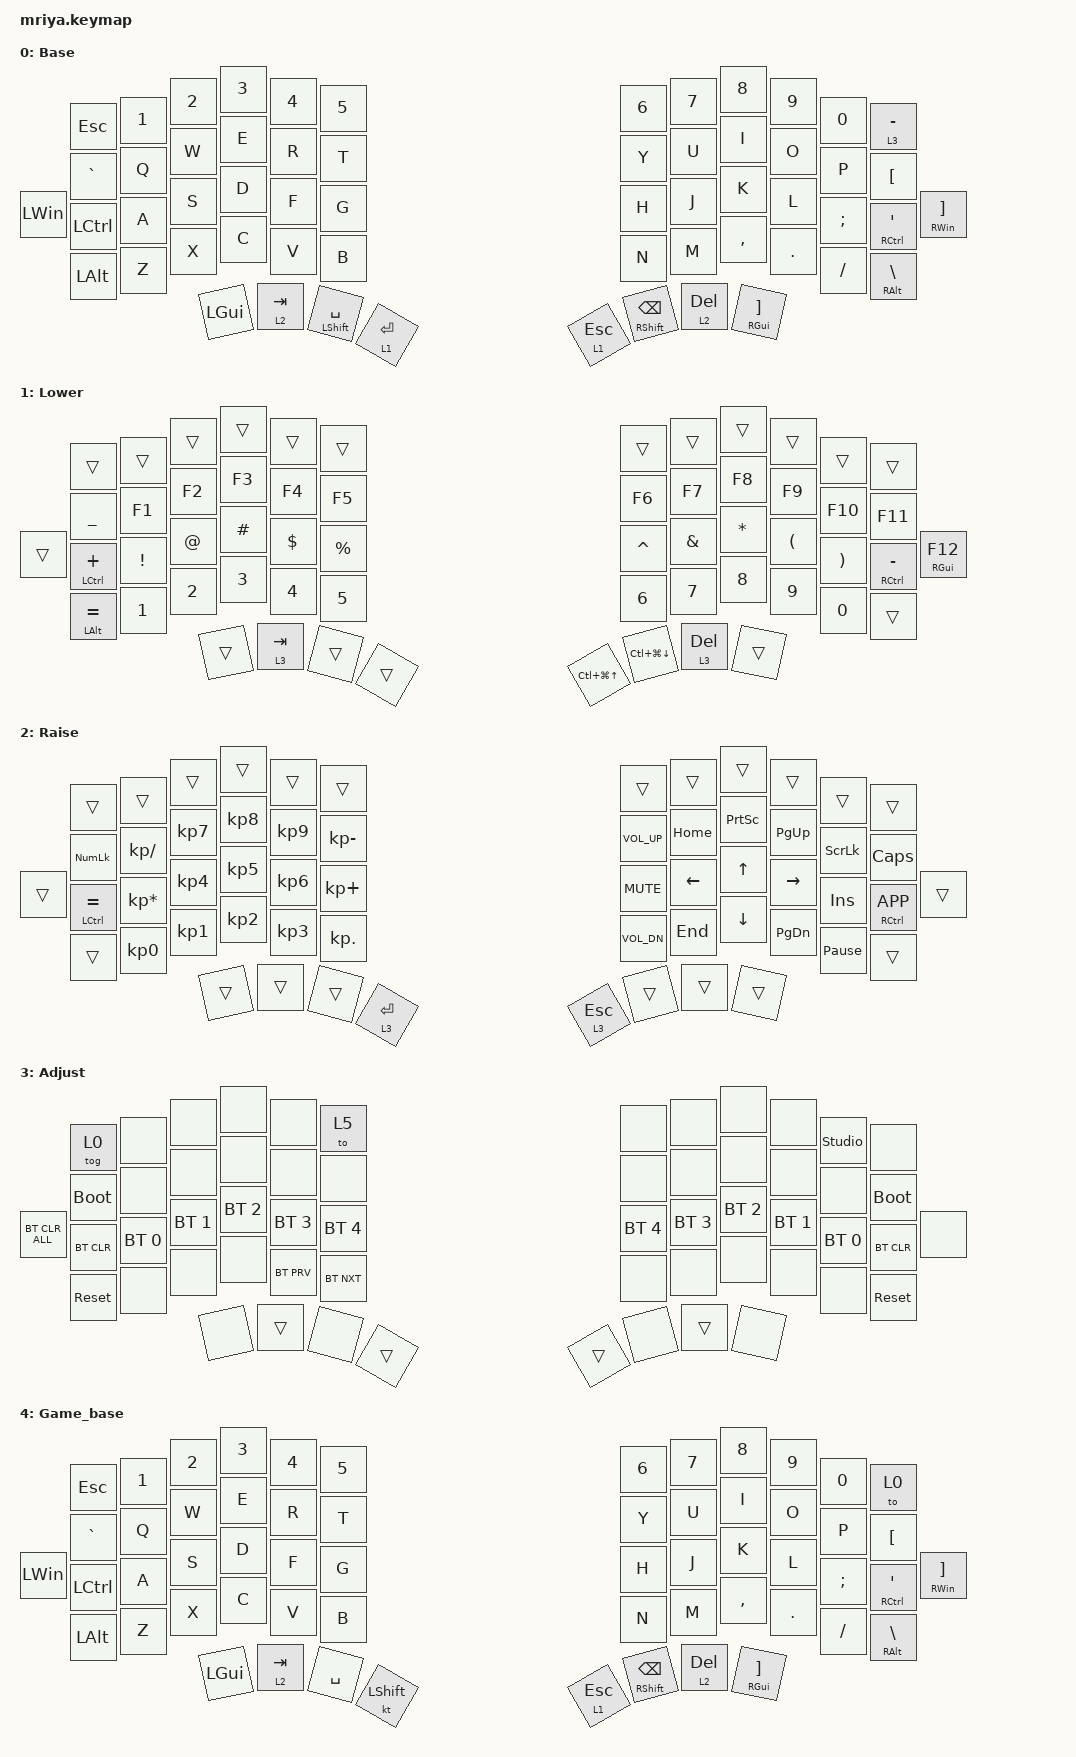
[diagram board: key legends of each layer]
/*
 * Copyright (c) 2023 Andrei Gaevskii
 *
 * SPDX-License-Identifier: MIT
 */
/* Включаем все поведения для ZMK Studio */

#define ZMK_BEHAVIORS_KEEP_ALL 1

#include <behaviors.dtsi>
#include <dt-bindings/zmk/bt.h>
#include <dt-bindings/zmk/keys.h>

#define DEF 0
#define LWR 1
#define RSE 2
#define ADJ 3

&lt { quick_tap_ms = <200>; };

&mt { quick_tap_ms = <200>; };

&tog { toggle-mode = "flip"; };

/ {
    behaviors {
        tap_dance: tap_dance {
            compatible = "zmk,behavior-tap-dance";
            label = "TAP_DANCE";
            #binding-cells = <0>;
            bindings = <&kp LEFT_SHIFT>, <&kt LEFT_SHIFT>;
        };
    };

    keymap {
        compatible = "zmk,keymap";

        default_layer {
            display-name = "Base";
            bindings = <
          &kp ESC    &kp N1  &kp N2    &kp N3     &kp N4           &kp N5       &kp N6     &kp N7          &kp N8     &kp N9                  &kp N0    &lt 3 MINUS
&kp LWIN  &kp GRAVE  &kp Q   &kp W     &kp E      &kp R            &kp T        &kp Y      &kp U           &kp I      &kp O                   &kp P     &kp LBKT       &mt RWIN RBKT
          &kp LCTRL  &kp A   &kp S     &kp D      &kp F            &kp G        &kp H      &kp J           &kp K      &kp L                   &kp SEMI  &mt RCTRL SQT
          &kp LALT   &kp Z   &kp X     &kp C      &kp V            &kp B        &kp N      &kp M           &kp COMMA  &kp DOT                 &kp FSLH  &mt RALT BSLH
                             &kp LGUI  &lt 2 TAB  &mt LSHFT SPACE  &lt 1 RET    &lt 1 ESC  &mt RSHFT BSPC  &lt 2 DEL  &mt RGUI RIGHT_BRACKET
            >;
        };

        lower_layer {
            display-name = "Lower";
            bindings = <
        &trans          &trans    &trans  &trans     &trans    &trans       &trans          &trans            &trans     &trans    &trans    &trans
&trans  &kp UNDER       &kp F1    &kp F2  &kp F3     &kp F4    &kp F5       &kp F6          &kp F7            &kp F8     &kp F9    &kp F10   &kp F11          &mt RGUI F12
        &mt LCTRL PLUS  &kp EXCL  &kp AT  &kp HASH   &kp DLLR  &kp PRCNT    &kp CARET       &kp AMPS          &kp STAR   &kp LPAR  &kp RPAR  &mt RCTRL MINUS
        &mt LALT EQUAL  &kp N1    &kp N2  &kp N3     &kp N4    &kp N5       &kp N6          &kp N7            &kp N8     &kp N9    &kp N0    &trans
                                  &trans  &lt 3 TAB  &trans    &trans       &kp LC(LG(UP))  &kp LC(LG(DOWN))  &lt 3 DEL  &trans
            >;
        };

        raise_layer {
            display-name = "Raise";
            bindings = <
        &trans           &trans           &trans     &trans     &trans     &trans          &trans        &trans    &trans     &trans     &trans           &trans
&trans  &kp KP_NUM       &kp KP_SLASH     &kp KP_N7  &kp KP_N8  &kp KP_N9  &kp KP_MINUS    &kp C_VOL_UP  &kp HOME  &kp PSCRN  &kp PG_UP  &kp SLCK         &kp CAPS         &trans
        &mt LCTRL EQUAL  &kp KP_MULTIPLY  &kp KP_N4  &kp KP_N5  &kp KP_N6  &kp KP_PLUS     &kp C_MUTE    &kp LEFT  &kp UP     &kp RIGHT  &kp INS          &mt RCTRL K_APP
        &trans           &kp KP_N0        &kp KP_N1  &kp KP_N2  &kp KP_N3  &kp KP_DOT      &kp C_VOL_DN  &kp END   &kp DOWN   &kp PG_DN  &kp PAUSE_BREAK  &trans
                                          &trans     &trans     &trans     &lt 3 RET       &lt 3 ESC     &trans    &trans     &trans
            >;
        };

        adjust_layer {
            display-name = "Adjust";
            bindings = <
                &tog 0       &none         &none         &none         &none         &to 5           &none         &none         &none         &none         &studio_unlock  &none
&bt BT_CLR_ALL  &bootloader  &none         &none         &none         &none         &none           &none         &none         &none         &none         &none           &bootloader  &none
                &bt BT_CLR   &bt BT_SEL 0  &bt BT_SEL 1  &bt BT_SEL 2  &bt BT_SEL 3  &bt BT_SEL 4    &bt BT_SEL 4  &bt BT_SEL 3  &bt BT_SEL 2  &bt BT_SEL 1  &bt BT_SEL 0    &bt BT_CLR
                &sys_reset   &none         &none         &none         &bt BT_PRV    &bt BT_NXT      &none         &none         &none         &none         &none           &sys_reset
                                           &none         &trans        &none         &trans          &trans        &none         &trans        &none
            >;
        };

        Game {
            display-name = "Game_base";
            bindings = <
          &kp ESC    &kp N1  &kp N2    &kp N3     &kp N4     &kp N5            &kp N6     &kp N7          &kp N8     &kp N9                  &kp N0    &to 0
&kp LWIN  &kp GRAVE  &kp Q   &kp W     &kp E      &kp R      &kp T             &kp Y      &kp U           &kp I      &kp O                   &kp P     &kp LBKT       &mt RWIN RBKT
          &kp LCTRL  &kp A   &kp S     &kp D      &kp F      &kp G             &kp H      &kp J           &kp K      &kp L                   &kp SEMI  &mt RCTRL SQT
          &kp LALT   &kp Z   &kp X     &kp C      &kp V      &kp B             &kp N      &kp M           &kp COMMA  &kp DOT                 &kp FSLH  &mt RALT BSLH
                             &kp LGUI  &lt 2 TAB  &kp SPACE  &kt LEFT_SHIFT    &lt 1 ESC  &mt RSHFT BSPC  &lt 2 DEL  &mt RGUI RIGHT_BRACKET
            >;
        };

        extra1 { status = "reserved"; };

        extra2 { status = "reserved"; };
    };
};
